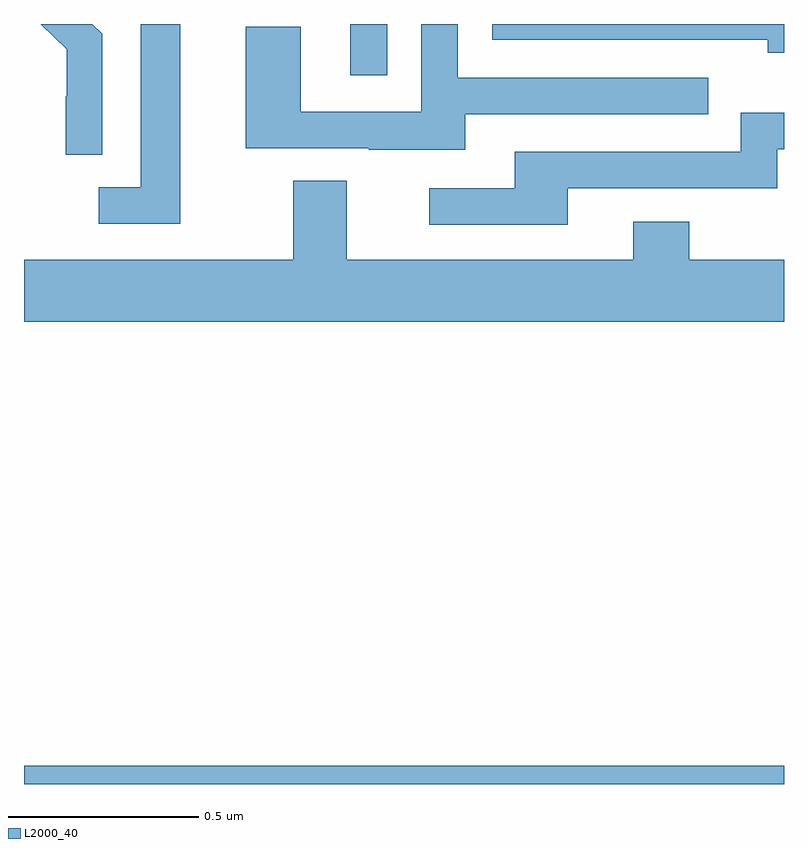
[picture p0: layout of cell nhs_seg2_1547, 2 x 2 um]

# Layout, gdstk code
import gdstk
lib = gdstk.Library(unit=1e-6, precision=1e-09)
def R(c, l, rs):  # rectangles x0, y0, x1, y1
    for r in rs: c.add(gdstk.rectangle(r[:2], r[2:], *l))
def P(c, l, *ps):  # polygons
    for p in ps: c.add(gdstk.Polygon(p, *l))
L2000_40 = (2000, 40)

nhs_seg2_1547 = lib.new_cell('nhs_seg2_1547')
R(nhs_seg2_1547, L2000_40, [(130,599.8,132,599.848), (130.859,601.665,130.956,601.8)])
P(nhs_seg2_1547, L2000_40, [(130.411,601.8),(130.307,601.8),(130.307,601.371),(130.197,601.371),(130.197,601.275),(130.411,601.275)],
  [(130.206,601.774),(130.18,601.8),(130.044,601.8),(130.112,601.733),(130.112,601.61),(130.11,601.61),(130.11,601.456),(130.206,601.456)],
  [(132,601.8),(131.232,601.8),(131.232,601.758),(131.957,601.758),(131.957,601.724),(132,601.724)],
  [(131.161,601.563),(131.801,601.563),(131.801,601.659),(131.142,601.659),(131.142,601.8),(131.046,601.8),(131.046,601.569),(130.728,601.569),(130.728,601.793),(130.583,601.793),(130.583,601.473),(130.907,601.473),(130.907,601.469),(131.161,601.469)],
  [(131.431,601.368),(131.982,601.368),(131.982,601.47),(132,601.47),(132,601.567),(131.886,601.567),(131.886,601.464),(131.291,601.464),(131.291,601.368),(131.067,601.368),(131.067,601.272),(131.431,601.272)],
  [(132,601.18),(131.751,601.18),(131.751,601.279),(131.603,601.279),(131.603,601.18),(130.849,601.18),(130.849,601.388),(130.709,601.388),(130.709,601.18),(130,601.18),(130,601.016),(132,601.016)])

lib.write_gds('nhs_seg2_1547.gds')
